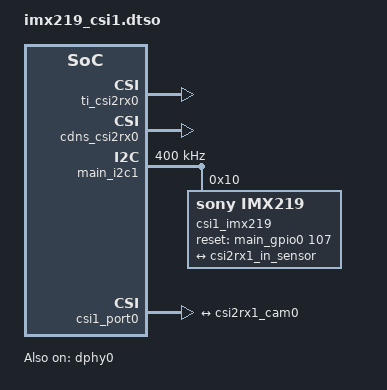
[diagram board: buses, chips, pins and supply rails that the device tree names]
/dts-v1/;
/plugin/;

#include <dt-bindings/gpio/gpio.h>
#include <dt-bindings/interrupt-controller/irq.h>

#include "k3-pinctrl.h"

&{/chosen} {
	overlays {
		BBAI64-CSI1-imx219.kernel = __TIMESTAMP__;
	};
};

/ {
	fragment@101 {
		target-path = "/";

		__overlay__ {
			clk_csi1_imx219_fixed: csi1-imx219-xclk {
				compatible = "fixed-clock";
				#clock-cells = <0>;
				clock-frequency = <24000000>;
			};
		};
	};
};

/* The reset pin (W24) set as an output. */
&csi1_gpio_pins_default {
	pinctrl-single,pins = <
		J721E_IOPAD(0x1b0, PIN_OUTPUT, 7) /* basically enable reset as output */
	>;
};

/* Enable the CSI block + DPHY and expose port0 */
&dphy0 { status = "okay"; };

&ti_csi2rx0 { status = "okay"; };

&cdns_csi2rx0 {	status = "okay"; };

&main_i2c1 {
	status = "okay";

	pinctrl-names = "default";
	pinctrl-0 = <&main_i2c1_pins_default>;

	clock-frequency = <400000>;

	#address-cells = <1>;
	#size-cells = <0>;

	csi1_imx219: csi1_sensor@10 {
		status = "okay";
		compatible = "sony,imx219";
		reg = <0x10>;

		clocks = <&clk_csi1_imx219_fixed>;
		clock-names = "xclk";

		pinctrl-names = "default";
		pinctrl-0 = <&csi1_gpio_pins_default>;

		reset-gpios = <&main_gpio0 107 GPIO_ACTIVE_HIGH>;

		port {
			csi2rx1_cam0: endpoint {
				remote-endpoint = <&csi2rx1_in_sensor>;
				link-frequencies = /bits/ 64 <456000000>;
				clock-lanes = <0>;
				data-lanes = <1 2>;
			};
		};
	};
};

&csi1_port0 {
	status = "okay";

	csi2rx1_in_sensor: endpoint {
		remote-endpoint = <&csi2rx1_cam0>;
		bus-type = <4>; /* CSI2 DPHY. */
		clock-lanes = <0>;
		data-lanes = <1 2>;
	};
};
